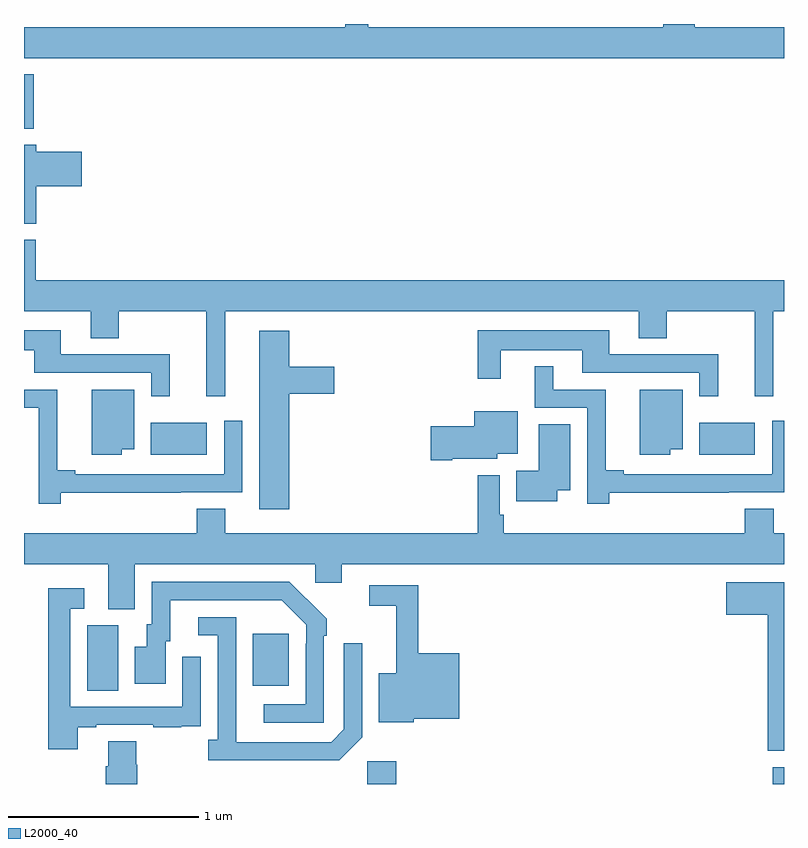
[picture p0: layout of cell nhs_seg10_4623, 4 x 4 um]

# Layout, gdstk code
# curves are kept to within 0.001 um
import gdstk
lib = gdstk.Library(unit=1e-6, precision=1e-09)
def R(c, l, rs):  # rectangles x0, y0, x1, y1
    for r in rs: c.add(gdstk.rectangle(r[:2], r[2:], *l))
def P(c, l, *ps):  # polygons
    for p in ps: c.add(gdstk.Polygon(p, *l))
L2000_40 = (2000, 40)

nhs_seg10_4623 = lib.new_cell('nhs_seg10_4623')
R(nhs_seg10_4623, L2000_40, [(376.806,1292.5,376.958,1292.62), (378.941,1292.5,379,1292.587), (375.332,1292.992,375.496,1293.336), (376.205,1293.017,376.393,1293.292), (375.668,1294.232,375.961,1294.402), (378.554,1294.232,378.847,1294.402), (375,1295.949,375.05,1296.235)])
P(nhs_seg10_4623, L2000_40, [(379,1296.484),(378.53,1296.484),(378.53,1296.5),(378.365,1296.5),(378.365,1296.484),(376.813,1296.484),(376.813,1296.5),(376.691,1296.5),(376.691,1296.484),(375,1296.484),(375,1296.32),(379,1296.32)],
  [(375.065,1295.645),(375.304,1295.645),(375.304,1295.828),(375.065,1295.828),(375.065,1295.864),(375,1295.864),(375,1295.449),(375.065,1295.449)],
  [(376.058,1294.988),(378.236,1294.988),(378.236,1294.846),(378.384,1294.846),(378.384,1294.988),(378.845,1294.988),(378.845,1294.542),(378.944,1294.542),(378.944,1294.988),(379,1294.988),(379,1295.152),(375.062,1295.152),(375.062,1295.364),(375,1295.364),(375,1294.988),(375.35,1294.988),(375.35,1294.846),(375.498,1294.846),(375.498,1294.988),(375.959,1294.988),(375.959,1294.542),(376.058,1294.542)],
  [(378.653,1294.761),(378.079,1294.761),(378.079,1294.888),(377.388,1294.888),(377.388,1294.632),(377.509,1294.632),(377.509,1294.784),(377.939,1294.784),(377.939,1294.665),(378.555,1294.665),(378.555,1294.542),(378.653,1294.542)],
  [(375.767,1294.761),(375.193,1294.761),(375.193,1294.888),(375,1294.888),(375,1294.784),(375.053,1294.784),(375.053,1294.665),(375.669,1294.665),(375.669,1294.542),(375.767,1294.542)],
  [(376.397,1294.553),(376.633,1294.553),(376.633,1294.695),(376.397,1294.695),(376.397,1294.885),(376.238,1294.885),(376.238,1293.945),(376.397,1293.945)],
  [(378.08,1294.034),(378.71,1294.034),(378.71,1294.035),(379,1294.035),(379,1294.411),(378.939,1294.411),(378.939,1294.131),(378.157,1294.131),(378.157,1294.151),(378.062,1294.151),(378.062,1294.575),(377.785,1294.575),(377.785,1294.699),(377.687,1294.699),(377.687,1294.479),(377.964,1294.479),(377.964,1293.975),(378.08,1293.975)],
  [(378.4,1294.262),(378.466,1294.262),(378.466,1294.576),(378.242,1294.576),(378.242,1294.232),(378.4,1294.232)],
  [(375.514,1294.262),(375.58,1294.262),(375.58,1294.576),(375.356,1294.576),(375.356,1294.232),(375.514,1294.232)],
  [(375.194,1294.034),(375.824,1294.034),(375.824,1294.035),(376.149,1294.035),(376.149,1294.411),(376.053,1294.411),(376.053,1294.131),(375.271,1294.131),(375.271,1294.151),(375.176,1294.151),(375.176,1294.575),(375,1294.575),(375,1294.479),(375.078,1294.479),(375.078,1293.975),(375.194,1293.975)],
  [(377.254,1294.211),(377.49,1294.211),(377.49,1294.238),(377.599,1294.238),(377.599,1294.462),(377.369,1294.462),(377.369,1294.382),(377.142,1294.382),(377.142,1294.204),(377.254,1294.204)],
  [(377.806,1294.046),(377.875,1294.046),(377.875,1294.394),(377.708,1294.394),(377.708,1294.15),(377.59,1294.15),(377.59,1293.989),(377.806,1293.989)],
  [(379,1293.82),(378.946,1293.82),(378.946,1293.95),(378.794,1293.95),(378.794,1293.82),(377.525,1293.82),(377.525,1293.916),(377.505,1293.916),(377.505,1294.126),(377.389,1294.126),(377.389,1293.82),(376.06,1293.82),(376.06,1293.95),(375.908,1293.95),(375.908,1293.82),(375,1293.82),(375,1293.656),(375.443,1293.656),(375.443,1293.421),(375.583,1293.421),(375.583,1293.656),(376.533,1293.656),(376.533,1293.558),(376.672,1293.558),(376.672,1293.656),(379,1293.656)],
  [(376.578,1293.281),(376.593,1293.281),(376.593,1293.369),(376.396,1293.564),(375.672,1293.564),(375.672,1293.342),(375.647,1293.342),(375.647,1293.223),(375.584,1293.223),(375.584,1293.027),(375.745,1293.027),(375.745,1293.252),(375.769,1293.252),(375.769,1293.468),(376.357,1293.468),(376.485,1293.339),(376.485,1293.239),(376.482,1293.239),(376.482,1292.919),(376.263,1292.919),(376.263,1292.823),(376.578,1292.823)],
  [(379,1293.562),(378.696,1293.562),(378.696,1293.392),(378.914,1293.392),(378.914,1292.675),(379,1292.675)],
  [(377.052,1292.843),(377.29,1292.843),(377.29,1293.187),(377.075,1293.187),(377.075,1293.546),(376.818,1293.546),(376.818,1293.438),(376.958,1293.438),(376.958,1293.082),(376.868,1293.082),(376.868,1292.825),(377.052,1292.825)],
  [(375.283,1292.799),(375.379,1292.799),(375.379,1292.811),(375.679,1292.811),(375.679,1292.799),(375.827,1292.799),(375.827,1292.805),(375.929,1292.805),(375.929,1292.914),(375.93,1292.914),(375.93,1293.169),(375.834,1293.169),(375.834,1292.907),(375.243,1292.907),(375.243,1293.423),(375.316,1293.423),(375.316,1293.529),(375.127,1293.529),(375.127,1292.682),(375.283,1292.682)],
  [(376.779,1292.745),(376.779,1293.241),(376.683,1293.241),(376.683,1292.787),(376.617,1292.721),(376.117,1292.721),(376.116,1293.378),(375.918,1293.378),(375.918,1293.282),(376.02,1293.282),(376.02,1292.734),(375.969,1292.734),(375.969,1292.624),(376.658,1292.624)],
  [(375.596,1292.601),(375.591,1292.601),(375.591,1292.726),(375.443,1292.726),(375.443,1292.594),(375.431,1292.594),(375.431,1292.5),(375.596,1292.5)])

lib.write_gds('nhs_seg10_4623.gds')
